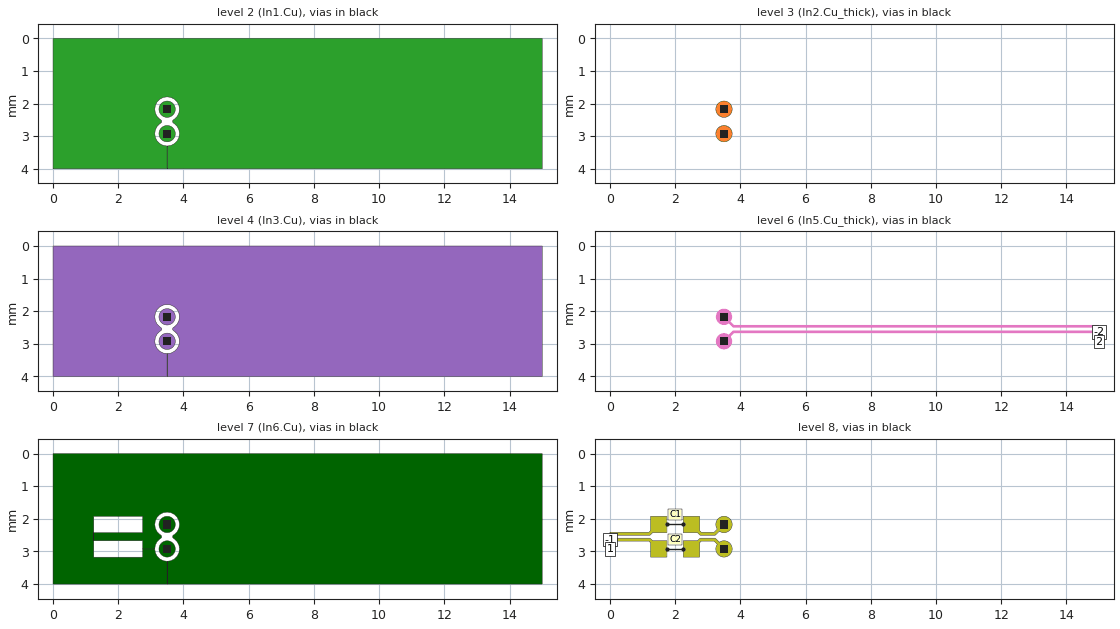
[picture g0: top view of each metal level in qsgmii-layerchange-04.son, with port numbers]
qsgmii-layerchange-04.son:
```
FTYP SONPROJ 19 ! Sonnet Project File
VER 18.56
HEADER
LIC antikernel2.1.52448
DAT 06/25/2023 11:55:03
BUILT_BY_CREATED dxf 18.56 06/07/2023 00:06:12
BUILT_BY_SAVED sonnet 18.56
MDATE 06/25/2023 11:55:03
HDATE 06/25/2023 11:55:03
ANN Created by dxfgeo, Sonnet Software Inc.
END HEADER
DIM
ANG DEG
CAP PF
CON /OH
FREQ GHZ
IND NH
LNG MM
RES OH
END DIM
CONTROL
VARSWP
OPTIONS  -dj
SPEED 1
CACHE_ABS 2
Q_ACC N
END CONTROL
GEO
TMET "Free Space" 0 FREESPACE 376.7303136 0 0 0
BMET "Free Space" 0 FREESPACE 376.7303136 0 0 0
MET "Copper_1oz_thin" 1 NOR 58000000 0.5 0.035 
MET "Copper_1oz_thick" 2 TMM 58000000 0.5 0.035 2
MET "Copper_0.5oz_thin" 4 NOR 58000000 0.5 0.017 
MET "Copper_0.5oz_thick" 12 TMM 58000000 0.5 0.017 2
MET "Copper_0.5oz_thick_down" 5 TMM 58000000 0.5 0.017 2 CDVY TDWN
MET "Copper_1oz_thick_down" 3 TMM 58000000 0.5 0.035 2 CDVY TDWN
BOX 10 15 4 2400 640 20 0
      5 1 1 0 0 0 0 "Air"
      0.04 3.5 1 0.025 0 0 0 "Soldermask"
      0.075 3.9 1 0.008 0 0 0 "TU-872_SLK"
      0.1 3.9 1 0.008 0 0 0 "TU-872_SLK"
      0.143 3.9 1 0.008 0 0 0 "TU-872_SLK"
      0.7 4.49 1 0.016 0 0 0 "Shengyi_S1000-2M"
      0.143 3.9 1 0.008 0 0 0 "TU-872_SLK"
      0.1 3.9 1 0.008 0 0 0 "TU-872_SLK"
      0.075 3.9 1 0.008 0 0 0 "TU-872_SLK"
      0.04 3.5 1 0.025 0 0 0 "Soldermask"
      5 1 1 0 0 0 0 "Air"
TECHLAY VIA Via1 L9D0 -13 -65534 CAD Via1 drawing 
VIA POLYGON
1 0 -1 N 2994 1 1 100 100 0 0 0 Y
TOLEVEL 8 RING NOCOVERS
END
END
TECHLAY METAL F.Cu_thick L1D0 -2 -65534 CAD F.Cu_thick drawing 
1 0 1 N 2708 1 1 100 100 0 0 0 Y
END
END
TECHLAY METAL F.Cu_thin <UNSPECIFIED> -1 -65534 CAD F.Cu_thin drawing 
1 0 0 N 2710 1 1 100 100 0 0 0 Y
END
END
TECHLAY METAL In1.Cu L2D0 -3 -65534 CAD In1.Cu drawing 
2 0 0 N 2713 1 1 100 100 0 0 0 Y
END
END
TECHLAY METAL In2.Cu_thick L3D0 -5 -65534 CAD In2.Cu_thick drawing 
3 0 3 N 2716 1 1 100 100 0 0 0 Y
END
END
TECHLAY METAL In2.Cu_thin <UNSPECIFIED> -4 -65534 CAD In2.Cu drawing 
3 0 2 N 2718 1 1 100 100 0 0 0 Y
END
END
TECHLAY METAL In3.Cu L4D0 -6 -65534 CAD In3.Cu drawing 
4 0 0 N 2721 1 1 100 100 0 0 0 Y
END
END
TECHLAY METAL In4.Cu L5D0 -7 -65534 CAD In4.Cu drawing 
5 0 0 N 2724 1 1 100 100 0 0 0 Y
END
END
TECHLAY METAL In5.Cu_thick L6D0 -9 -65534 CAD In5.Cu_thick drawing 
6 0 4 N 2727 1 1 100 100 0 0 0 Y
END
END
TECHLAY METAL In5.Cu_thin <UNSPECIFIED> -8 -65534 CAD In5.Cu drawing 
6 0 2 N 2729 1 1 100 100 0 0 0 Y
END
END
TECHLAY METAL In6.Cu L7D0 -10 -65534 CAD In6.Cu drawing 
7 0 0 N 2732 1 1 100 100 0 0 0 Y
END
END
TECHLAY METAL B.Cu_thick L8D0 -12 -65534 CAD B.Cu_thick drawing 
8 0 5 N 2735 1 1 100 100 0 0 0 Y
END
END
TECHLAY METAL B.Cu_thin <UNSPECIFIED> -11 -65534 CAD B.Cu_thin drawing 
8 0 0 N 2737 1 1 100 100 0 0 0 Y
END
END
LORGN 0 4 U 
POR1 BOX
POLY 2889 1
23
-2 100 0 0 0 15 2.631914063 
POR1 BOX
POLY 2890 1
69
2 100 0 0 0 15 2.461914063 
POR1 BOX
POLY 2853 1
10
-1 100 0 0 0 -2.220446049e-16 2.636914063 
POR1 BOX
POLY 2860 1
13
1 100 0 0 0 -2.220446049e-16 2.456914062 
SMD 8 "C1"
ID 2913
GNDREF AUTO
SBOX 1.8735625 2.1235625 2.134414063 2.209414063
PBSHW N
LPOS 1.9985625 2.134414063
TYPE IDEAL CAP 100000
SMDP 8 1.7485625 2.171914063 L 3 1 
EXSMDP
GNDREF AUTO
TERMW FEED
END EXSMDP
SMDP 8 2.2485625 2.171914063 R 4 2 
EXSMDP
GNDREF AUTO
TERMW FEED
END EXSMDP
END
SMD 8 "C2"
ID 2918
GNDREF AUTO
SBOX 1.8735625 2.1235625 2.884414063 2.959414063
PBSHW N
LPOS 1.9985625 2.884414063
TYPE IDEAL CAP 100000
SMDP 8 1.7485625 2.921914063 L 5 1 
EXSMDP
GNDREF AUTO
TERMW FEED
END EXSMDP
SMDP 8 2.2485625 2.921914063 R 6 2 
EXSMDP
GNDREF AUTO
TERMW FEED
END EXSMDP
END
NUM 19
VIA POLYGON
1 5 -1 N 2429 1 1 100 100 0 0 0 Y
TOLEVEL 8 RING NOCOVERS
TLAYNAM Via1 INH
3.3735625 3.046914063
3.3735625 2.796914063
3.6235625 2.796914063
3.6235625 3.046914063
3.3735625 3.046914063
END
VIA POLYGON
1 5 -1 N 2431 1 1 100 100 0 0 0 Y
TOLEVEL 8 RING NOCOVERS
TLAYNAM Via1 INH
3.3735625 2.296914063
3.3735625 2.046914063
3.6235625 2.046914063
3.6235625 2.296914063
3.3735625 2.296914063
END
2 65 0 N 556 1 1 100 100 0 0 0 Y
TLAYNAM In1.Cu INH
3.4865625 3.171914063
3.4615625 3.168914063
3.4375625 3.164914062
3.4145625 3.156914063
3.3915625 3.147914063
3.3695625 3.135914062
3.3495625 3.122914063
3.3305625 3.106914063
3.3135625 3.089914063
3.2975625 3.070914063
3.2845625 3.050914063
3.2725625 3.028914063
3.2635625 3.005914063
3.2555625 2.982914063
3.2515625 2.958914063
3.2485625 2.933914063
3.2485625 2.909914063
3.2515625 2.884914063
3.2555625 2.860914063
3.2635625 2.837914062
3.2725625 2.814914063
3.2845625 2.792914062
3.2975625 2.772914063
3.3135625 2.753914063
3.3305625 2.736914062
3.3495625 2.720914063
3.3695625 2.707914063
3.3915625 2.695914063
3.4145625 2.686914063
3.4375625 2.678914063
3.4615625 2.674914063
3.4865625 2.671914063
3.5105625 2.671914063
3.5355625 2.674914063
3.5595625 2.678914063
3.5825625 2.686914063
3.6055625 2.695914063
3.6275625 2.707914063
3.6475625 2.720914063
3.6665625 2.736914062
3.6835625 2.753914063
3.6995625 2.772914063
3.7125625 2.792914062
3.7245625 2.814914063
3.7335625 2.837914062
3.7415625 2.860914063
3.7455625 2.884914063
3.7485625 2.909914063
3.7485625 2.933914063
3.7455625 2.958914063
3.7415625 2.982914063
3.7335625 3.005914063
3.7245625 3.028914063
3.7125625 3.050914063
3.6995625 3.070914063
3.6835625 3.089914063
3.6665625 3.106914063
3.6475625 3.122914063
3.6275625 3.135914062
3.6055625 3.147914063
3.5825625 3.156914063
3.5595625 3.164914062
3.5355625 3.168914063
3.5105625 3.171914063
3.4865625 3.171914063
END
2 65 0 N 558 1 1 100 100 0 0 0 Y
TLAYNAM In1.Cu INH
3.4865625 2.421914063
3.4615625 2.418914063
3.4375625 2.414914062
3.4145625 2.406914063
3.3915625 2.397914062
3.3695625 2.385914062
3.3495625 2.372914063
3.3305625 2.356914063
3.3135625 2.339914063
3.2975625 2.320914063
3.2845625 2.300914063
3.2725625 2.278914063
3.2635625 2.255914063
3.2555625 2.232914063
3.2515625 2.208914063
3.2485625 2.183914063
3.2485625 2.159914063
3.2515625 2.134914063
3.2555625 2.110914063
3.2635625 2.087914062
3.2725625 2.064914063
3.2845625 2.042914062
3.2975625 2.022914062
3.3135625 2.003914063
3.3305625 1.986914062
3.3495625 1.970914063
3.3695625 1.957914063
3.3915625 1.945914063
3.4145625 1.936914063
3.4375625 1.928914063
3.4615625 1.924914063
3.4865625 1.921914063
3.5105625 1.921914063
3.5355625 1.924914063
3.5595625 1.928914063
3.5825625 1.936914063
3.6055625 1.945914063
3.6275625 1.957914063
3.6475625 1.970914063
3.6665625 1.986914062
3.6835625 2.003914063
3.6995625 2.022914062
3.7125625 2.042914062
3.7245625 2.064914063
3.7335625 2.087914062
3.7415625 2.110914063
3.7455625 2.134914063
3.7485625 2.159914063
3.7485625 2.183914063
3.7455625 2.208914063
3.7415625 2.232914063
3.7335625 2.255914063
3.7245625 2.278914063
3.7125625 2.300914063
3.6995625 2.320914063
3.6835625 2.339914063
3.6665625 2.356914063
3.6475625 2.372914063
3.6275625 2.385914062
3.6055625 2.397914062
3.5825625 2.406914063
3.5595625 2.414914062
3.5355625 2.418914063
3.5105625 2.421914063
3.4865625 2.421914063
END
2 64 0 N 2906 1 1 100 100 0 0 0 Y
TLAYNAM In1.Cu INH
15 0
-2.220446049e-16 0
-2.220446049e-16 4
3.4985625 4
3.4985625 3.301914062
3.3815625 3.283914062
3.2755625 3.229914063
3.1905625 3.144914063
3.1365625 3.038914063
3.1205625 2.935914062
3.1195625 2.926914062
3.1185625 2.921914063
3.1365625 2.804914062
3.1905625 2.698914063
3.2755625 2.613914063
3.2995625 2.601914063
3.3265625 2.574914063
3.3305625 2.527914063
3.2995625 2.491914063
3.2755625 2.479914063
3.1905625 2.394914062
3.1365625 2.288914063
3.1185625 2.171914063
3.1215625 2.153914063
3.1365625 2.058914063
3.1365625 2.054914062
3.1905625 1.948914063
3.2755625 1.863914063
3.3815625 1.809914063
3.4455625 1.799914063
3.4935625 1.792914062
3.4985625 1.791914063
3.5035625 1.792914062
3.5515625 1.799914063
3.6155625 1.809914063
3.7215625 1.863914063
3.8065625 1.948914063
3.8535625 2.041914063
3.8605625 2.054914062
3.8605625 2.058914063
3.8755625 2.153914063
3.8785625 2.171914063
3.8605625 2.288914063
3.8065625 2.394914062
3.7215625 2.479914063
3.6975625 2.491914063
3.6705625 2.518914063
3.6665625 2.565914063
3.6975625 2.601914063
3.7215625 2.613914063
3.8065625 2.698914063
3.8605625 2.804914062
3.8785625 2.921914063
3.8775625 2.926914062
3.8765625 2.935914062
3.8605625 3.038914063
3.8585625 3.041914063
3.8065625 3.144914063
3.7215625 3.229914063
3.6155625 3.283914062
3.4985625 3.301914062
3.4985625 4
15 4
15 0
END
3 65 3 N 793 1 1 100 100 0 0 0 Y
TLAYNAM In2.Cu_thick INH
3.4865625 2.421914063
3.4615625 2.418914063
3.4375625 2.414914062
3.4145625 2.406914063
3.3915625 2.397914062
3.3695625 2.385914062
3.3495625 2.372914063
3.3305625 2.356914063
3.3135625 2.339914063
3.2975625 2.320914063
3.2845625 2.300914063
3.2725625 2.278914063
3.2635625 2.255914063
3.2555625 2.232914063
3.2515625 2.208914063
3.2485625 2.183914063
3.2485625 2.159914063
3.2515625 2.134914063
3.2555625 2.110914063
3.2635625 2.087914062
3.2725625 2.064914063
3.2845625 2.042914062
3.2975625 2.022914062
3.3135625 2.003914063
3.3305625 1.986914062
3.3495625 1.970914063
3.3695625 1.957914063
3.3915625 1.945914063
3.4145625 1.936914063
3.4375625 1.928914063
3.4615625 1.924914063
3.4865625 1.921914063
3.5105625 1.921914063
3.5355625 1.924914063
3.5595625 1.928914063
3.5825625 1.936914063
3.6055625 1.945914063
3.6275625 1.957914063
3.6475625 1.970914063
3.6665625 1.986914062
3.6835625 2.003914063
3.6995625 2.022914062
3.7125625 2.042914062
3.7245625 2.064914063
3.7335625 2.087914062
3.7415625 2.110914063
3.7455625 2.134914063
3.7485625 2.159914063
3.7485625 2.183914063
3.7455625 2.208914063
3.7415625 2.232914063
3.7335625 2.255914063
3.7245625 2.278914063
3.7125625 2.300914063
3.6995625 2.320914063
3.6835625 2.339914063
3.6665625 2.356914063
3.6475625 2.372914063
3.6275625 2.385914062
3.6055625 2.397914062
3.5825625 2.406914063
3.5595625 2.414914062
3.5355625 2.418914063
3.5105625 2.421914063
3.4865625 2.421914063
END
3 65 3 N 792 1 1 100 100 0 0 0 Y
TLAYNAM In2.Cu_thick INH
3.4865625 3.171914063
3.4615625 3.168914063
3.4375625 3.164914062
3.4145625 3.156914063
3.3915625 3.147914063
3.3695625 3.135914062
3.3495625 3.122914063
3.3305625 3.106914063
3.3135625 3.089914063
3.2975625 3.070914063
3.2845625 3.050914063
3.2725625 3.028914063
3.2635625 3.005914063
3.2555625 2.982914063
3.2515625 2.958914063
3.2485625 2.933914063
3.2485625 2.909914063
3.2515625 2.884914063
3.2555625 2.860914063
3.2635625 2.837914062
3.2725625 2.814914063
3.2845625 2.792914062
3.2975625 2.772914063
3.3135625 2.753914063
3.3305625 2.736914062
3.3495625 2.720914063
3.3695625 2.707914063
3.3915625 2.695914063
3.4145625 2.686914063
3.4375625 2.678914063
3.4615625 2.674914063
3.4865625 2.671914063
3.5105625 2.671914063
3.5355625 2.674914063
3.5595625 2.678914063
3.5825625 2.686914063
3.6055625 2.695914063
3.6275625 2.707914063
3.6475625 2.720914063
3.6665625 2.736914062
3.6835625 2.753914063
3.6995625 2.772914063
3.7125625 2.792914062
3.7245625 2.814914063
3.7335625 2.837914062
3.7415625 2.860914063
3.7455625 2.884914063
3.7485625 2.909914063
3.7485625 2.933914063
3.7455625 2.958914063
3.7415625 2.982914063
3.7335625 3.005914063
3.7245625 3.028914063
3.7125625 3.050914063
3.6995625 3.070914063
3.6835625 3.089914063
3.6665625 3.106914063
3.6475625 3.122914063
3.6275625 3.135914062
3.6055625 3.147914063
3.5825625 3.156914063
3.5595625 3.164914062
3.5355625 3.168914063
3.5105625 3.171914063
3.4865625 3.171914063
END
4 65 0 N 1084 1 1 100 100 0 0 0 Y
TLAYNAM In3.Cu INH
3.4865625 2.421914063
3.4615625 2.418914063
3.4375625 2.414914062
3.4145625 2.406914063
3.3915625 2.397914062
3.3695625 2.385914062
3.3495625 2.372914063
3.3305625 2.356914063
3.3135625 2.339914063
3.2975625 2.320914063
3.2845625 2.300914063
3.2725625 2.278914063
3.2635625 2.255914063
3.2555625 2.232914063
3.2515625 2.208914063
3.2485625 2.183914063
3.2485625 2.159914063
3.2515625 2.134914063
3.2555625 2.110914063
3.2635625 2.087914062
3.2725625 2.064914063
3.2845625 2.042914062
3.2975625 2.022914062
3.3135625 2.003914063
3.3305625 1.986914062
3.3495625 1.970914063
3.3695625 1.957914063
3.3915625 1.945914063
3.4145625 1.936914063
3.4375625 1.928914063
3.4615625 1.924914063
3.4865625 1.921914063
3.5105625 1.921914063
3.5355625 1.924914063
3.5595625 1.928914063
3.5825625 1.936914063
3.6055625 1.945914063
3.6275625 1.957914063
3.6475625 1.970914063
3.6665625 1.986914062
3.6835625 2.003914063
3.6995625 2.022914062
3.7125625 2.042914062
3.7245625 2.064914063
3.7335625 2.087914062
3.7415625 2.110914063
3.7455625 2.134914063
3.7485625 2.159914063
3.7485625 2.183914063
3.7455625 2.208914063
3.7415625 2.232914063
3.7335625 2.255914063
3.7245625 2.278914063
3.7125625 2.300914063
3.6995625 2.320914063
3.6835625 2.339914063
3.6665625 2.356914063
3.6475625 2.372914063
3.6275625 2.385914062
3.6055625 2.397914062
3.5825625 2.406914063
3.5595625 2.414914062
3.5355625 2.418914063
3.5105625 2.421914063
3.4865625 2.421914063
END
4 65 0 N 1097 1 1 100 100 0 0 0 Y
TLAYNAM In3.Cu INH
3.4865625 3.171914063
3.4615625 3.168914063
3.4375625 3.164914062
3.4145625 3.156914063
3.3915625 3.147914063
3.3695625 3.135914062
3.3495625 3.122914063
3.3305625 3.106914063
3.3135625 3.089914063
3.2975625 3.070914063
3.2845625 3.050914063
3.2725625 3.028914063
3.2635625 3.005914063
3.2555625 2.982914063
3.2515625 2.958914063
3.2485625 2.933914063
3.2485625 2.909914063
3.2515625 2.884914063
3.2555625 2.860914063
3.2635625 2.837914062
3.2725625 2.814914063
3.2845625 2.792914062
3.2975625 2.772914063
3.3135625 2.753914063
3.3305625 2.736914062
3.3495625 2.720914063
3.3695625 2.707914063
3.3915625 2.695914063
3.4145625 2.686914063
3.4375625 2.678914063
3.4615625 2.674914063
3.4865625 2.671914063
3.5105625 2.671914063
3.5355625 2.674914063
3.5595625 2.678914063
3.5825625 2.686914063
3.6055625 2.695914063
3.6275625 2.707914063
3.6475625 2.720914063
3.6665625 2.736914062
3.6835625 2.753914063
3.6995625 2.772914063
3.7125625 2.792914062
3.7245625 2.814914063
3.7335625 2.837914062
3.7415625 2.860914063
3.7455625 2.884914063
3.7485625 2.909914063
3.7485625 2.933914063
3.7455625 2.958914063
3.7415625 2.982914063
3.7335625 3.005914063
3.7245625 3.028914063
3.7125625 3.050914063
3.6995625 3.070914063
3.6835625 3.089914063
3.6665625 3.106914063
3.6475625 3.122914063
3.6275625 3.135914062
3.6055625 3.147914063
3.5825625 3.156914063
3.5595625 3.164914062
3.5355625 3.168914063
3.5105625 3.171914063
3.4865625 3.171914063
END
4 70 0 N 2928 1 1 100 100 0 0 0 Y
TLAYNAM In3.Cu INH
15 0.81
15 0
-2.220446049e-16 0
-2.220446049e-16 0.671914063
-2.220446049e-16 3.458914063
6.661338148e-16 3.458914063
6.661338148e-16 4
3.4985625 4
3.4985625 3.301914062
3.3815625 3.283914062
3.2755625 3.229914063
3.1905625 3.144914063
3.1365625 3.038914063
3.1205625 2.935914062
3.1195625 2.926914062
3.1185625 2.921914063
3.1365625 2.804914062
3.1905625 2.698914063
3.2755625 2.613914063
3.2995625 2.601914063
3.3265625 2.574914063
3.3305625 2.527914063
3.2995625 2.491914063
3.2755625 2.479914063
3.1905625 2.394914062
3.1365625 2.288914063
3.1205625 2.182914062
3.1195625 2.176914062
3.1185625 2.171914063
3.1215625 2.153914063
3.1295625 2.099914062
3.1365625 2.054914062
3.1905625 1.948914063
3.2755625 1.863914063
3.3815625 1.809914063
3.4575625 1.797914063
3.4935625 1.792914062
3.4985625 1.791914063
3.5035625 1.792914062
3.5395625 1.797914063
3.6155625 1.809914063
3.7215625 1.863914063
3.8065625 1.948914063
3.8605625 2.054914062
3.8675625 2.099914062
3.8755625 2.153914063
3.8785625 2.171914063
3.8775625 2.176914062
3.8765625 2.182914062
3.8605625 2.288914063
3.8065625 2.394914062
3.7215625 2.479914063
3.6975625 2.491914063
3.6705625 2.518914063
3.6665625 2.565914063
3.6975625 2.601914063
3.7215625 2.613914063
3.8065625 2.698914063
3.8605625 2.804914062
3.8785625 2.921914063
3.8775625 2.926914062
3.8765625 2.935914062
3.8605625 3.038914063
3.8065625 3.144914063
3.7215625 3.229914063
3.6155625 3.283914062
3.4985625 3.301914062
3.4985625 4
15 4
15 0.81
END
6 71 4 N 2889 1 1 100 100 0 0 0 Y
TLAYNAM In5.Cu_thick INH
3.5355625 3.168914063
3.5595625 3.164914062
3.5825625 3.156914063
3.6055625 3.147914063
3.6275625 3.135914062
3.6475625 3.122914063
3.6665625 3.106914063
3.6835625 3.089914063
3.6995625 3.070914063
3.7125625 3.050914063
3.7245625 3.028914063
3.7335625 3.005914063
3.7415625 2.982914063
3.7455625 2.958914063
3.7485625 2.933914063
3.7485625 2.909914063
3.7455625 2.884914063
3.7415625 2.860914063
3.7335625 2.837914062
3.7245625 2.814914063
3.7125625 2.792914062
3.7015625 2.775914063
3.8045625 2.672914063
15 2.672914063
15 2.590914062
3.7865625 2.590914062
3.7745625 2.593914062
3.7715625 2.594914063
3.7675625 2.596914062
3.7645625 2.598914063
3.6445625 2.718914062
3.6275625 2.707914063
3.6055625 2.695914063
3.5825625 2.686914063
3.5595625 2.678914063
3.5355625 2.674914063
3.5105625 2.671914063
3.4865625 2.671914063
3.4615625 2.674914063
3.4375625 2.678914063
3.4145625 2.686914063
3.3915625 2.695914063
3.3695625 2.707914063
3.3495625 2.720914063
3.3305625 2.736914062
3.3135625 2.753914063
3.2975625 2.772914063
3.2845625 2.792914062
3.2725625 2.814914063
3.2635625 2.837914062
3.2555625 2.860914063
3.2515625 2.884914063
3.2485625 2.909914063
3.2485625 2.933914063
3.2515625 2.958914063
3.2555625 2.982914063
3.2635625 3.005914063
3.2725625 3.028914063
3.2845625 3.050914063
3.2975625 3.070914063
3.3135625 3.089914063
3.3305625 3.106914063
3.3495625 3.122914063
3.3695625 3.135914062
3.3915625 3.147914063
3.4145625 3.156914063
3.4375625 3.164914062
3.4615625 3.168914063
3.4865625 3.171914063
3.5105625 3.171914063
3.5355625 3.168914063
END
6 71 4 N 2890 1 1 100 100 0 0 0 Y
TLAYNAM In5.Cu_thick INH
15 2.420914062
3.8045625 2.420914062
3.7015625 2.317914063
3.7125625 2.300914063
3.7245625 2.278914063
3.7335625 2.255914063
3.7415625 2.232914063
3.7455625 2.208914063
3.7485625 2.183914063
3.7485625 2.159914063
3.7455625 2.134914063
3.7415625 2.110914063
3.7335625 2.087914062
3.7245625 2.064914063
3.7125625 2.042914062
3.6995625 2.022914062
3.6835625 2.003914063
3.6665625 1.986914062
3.6475625 1.970914063
3.6275625 1.957914063
3.6055625 1.945914063
3.5825625 1.936914063
3.5595625 1.928914063
3.5355625 1.924914063
3.5105625 1.921914063
3.4865625 1.921914063
3.4615625 1.924914063
3.4375625 1.928914063
3.4145625 1.936914063
3.3915625 1.945914063
3.3695625 1.957914063
3.3495625 1.970914063
3.3305625 1.986914062
3.3135625 2.003914063
3.2975625 2.022914062
3.2845625 2.042914062
3.2725625 2.064914063
3.2635625 2.087914062
3.2555625 2.110914063
3.2515625 2.134914063
3.2485625 2.159914063
3.2485625 2.183914063
3.2515625 2.208914063
3.2555625 2.232914063
3.2635625 2.255914063
3.2725625 2.278914063
3.2845625 2.300914063
3.2975625 2.320914063
3.3135625 2.339914063
3.3305625 2.356914063
3.3495625 2.372914063
3.3695625 2.385914062
3.3915625 2.397914062
3.4145625 2.406914063
3.4375625 2.414914062
3.4615625 2.418914063
3.4865625 2.421914063
3.5105625 2.421914063
3.5355625 2.418914063
3.5595625 2.414914062
3.5825625 2.406914063
3.6055625 2.397914062
3.6275625 2.385914062
3.6445625 2.374914063
3.7645625 2.494914063
3.7675625 2.496914063
3.7715625 2.498914062
3.7745625 2.499914063
3.7865625 2.502914063
15 2.502914063
15 2.420914062
END
7 65 0 N 1906 1 1 100 100 0 0 0 Y
TLAYNAM In6.Cu INH
3.4865625 2.421914063
3.4615625 2.418914063
3.4375625 2.414914062
3.4145625 2.406914063
3.3915625 2.397914062
3.3695625 2.385914062
3.3495625 2.372914063
3.3305625 2.356914063
3.3135625 2.339914063
3.2975625 2.320914063
3.2845625 2.300914063
3.2725625 2.278914063
3.2635625 2.255914063
3.2555625 2.232914063
3.2515625 2.208914063
3.2485625 2.183914063
3.2485625 2.159914063
3.2515625 2.134914063
3.2555625 2.110914063
3.2635625 2.087914062
3.2725625 2.064914063
3.2845625 2.042914062
3.2975625 2.022914062
3.3135625 2.003914063
3.3305625 1.986914062
3.3495625 1.970914063
3.3695625 1.957914063
3.3915625 1.945914063
3.4145625 1.936914063
3.4375625 1.928914063
3.4615625 1.924914063
3.4865625 1.921914063
3.5105625 1.921914063
3.5355625 1.924914063
3.5595625 1.928914063
3.5825625 1.936914063
3.6055625 1.945914063
3.6275625 1.957914063
3.6475625 1.970914063
3.6665625 1.986914062
3.6835625 2.003914063
3.6995625 2.022914062
3.7125625 2.042914062
3.7245625 2.064914063
3.7335625 2.087914062
3.7415625 2.110914063
3.7455625 2.134914063
3.7485625 2.159914063
3.7485625 2.183914063
3.7455625 2.208914063
3.7415625 2.232914063
3.7335625 2.255914063
3.7245625 2.278914063
3.7125625 2.300914063
3.6995625 2.320914063
3.6835625 2.339914063
3.6665625 2.356914063
3.6475625 2.372914063
3.6275625 2.385914062
3.6055625 2.397914062
3.5825625 2.406914063
3.5595625 2.414914062
3.5355625 2.418914063
3.5105625 2.421914063
3.4865625 2.421914063
END
7 65 0 N 1904 1 1 100 100 0 0 0 Y
TLAYNAM In6.Cu INH
3.4865625 3.171914063
3.4615625 3.168914063
3.4375625 3.164914062
3.4145625 3.156914063
3.3915625 3.147914063
3.3695625 3.135914062
3.3495625 3.122914063
3.3305625 3.106914063
3.3135625 3.089914063
3.2975625 3.070914063
3.2845625 3.050914063
3.2725625 3.028914063
3.2635625 3.005914063
3.2555625 2.982914063
3.2515625 2.958914063
3.2485625 2.933914063
3.2485625 2.909914063
3.2515625 2.884914063
3.2555625 2.860914063
3.2635625 2.837914062
3.2725625 2.814914063
3.2845625 2.792914062
3.2975625 2.772914063
3.3135625 2.753914063
3.3305625 2.736914062
3.3495625 2.720914063
3.3695625 2.707914063
3.3915625 2.695914063
3.4145625 2.686914063
3.4375625 2.678914063
3.4615625 2.674914063
3.4865625 2.671914063
3.5105625 2.671914063
3.5355625 2.674914063
3.5595625 2.678914063
3.5825625 2.686914063
3.6055625 2.695914063
3.6275625 2.707914063
3.6475625 2.720914063
3.6665625 2.736914062
3.6835625 2.753914063
3.6995625 2.772914063
3.7125625 2.792914062
3.7245625 2.814914063
3.7335625 2.837914062
3.7415625 2.860914063
3.7455625 2.884914063
3.7485625 2.909914063
3.7485625 2.933914063
3.7455625 2.958914063
3.7415625 2.982914063
3.7335625 3.005914063
3.7245625 3.028914063
3.7125625 3.050914063
3.6995625 3.070914063
3.6835625 3.089914063
3.6665625 3.106914063
3.6475625 3.122914063
3.6275625 3.135914062
3.6055625 3.147914063
3.5825625 3.156914063
3.5595625 3.164914062
3.5355625 3.168914063
3.5105625 3.171914063
3.4865625 3.171914063
END
7 82 0 N 3010 1 1 100 100 0 0 0 Y
TLAYNAM In6.Cu INH
15 0
-2.220446049e-16 0
-2.220446049e-16 1.421914063
-2.220446049e-16 3.38
6.661338148e-16 3.38
6.661338148e-16 4
3.4985625 4
3.4985625 3.301914062
3.3815625 3.283914062
3.2755625 3.229914063
3.1905625 3.144914063
3.1365625 3.038914063
3.1205625 2.935914062
3.1195625 2.926914062
3.1185625 2.921914063
2.75 2.921914063
2.75 3.175
1.2485625 3.175
1.2485625 2.671914063
1.2485625 2.425
1.2485625 2.425
1.2485625 1.921914063
2.75 1.921914063
2.75 2.425
1.2485625 2.425
1.2485625 2.671914063
2.75 2.671914063
2.75 2.921914063
3.1185625 2.921914063
3.1185625 2.921914063
3.1365625 2.804914062
3.1905625 2.698914063
3.2755625 2.613914063
3.2995625 2.601914063
3.3265625 2.574914063
3.3305625 2.527914063
3.2995625 2.491914063
3.2755625 2.479914063
3.1905625 2.394914062
3.1365625 2.288914063
3.1185625 2.171914063
3.1215625 2.153914063
3.1365625 2.058914063
3.1365625 2.054914062
3.1905625 1.948914063
3.2755625 1.863914063
3.3815625 1.809914063
3.4455625 1.799914063
3.4935625 1.792914062
3.4985625 1.791914063
3.5035625 1.792914062
3.5515625 1.799914063
3.6155625 1.809914063
3.7215625 1.863914063
3.8065625 1.948914063
3.8535625 2.041914063
3.8605625 2.054914062
3.8605625 2.058914063
3.8755625 2.153914063
3.8785625 2.171914063
3.8605625 2.288914063
3.8065625 2.394914062
3.7215625 2.479914063
3.6975625 2.491914063
3.6705625 2.518914063
3.6665625 2.565914063
3.6975625 2.601914063
3.7215625 2.613914063
3.8065625 2.698914063
3.8605625 2.804914062
3.8785625 2.921914063
3.8775625 2.926914062
3.8765625 2.935914062
3.8605625 3.038914063
3.8585625 3.041914063
3.8065625 3.144914063
3.7215625 3.229914063
3.6155625 3.283914062
3.4985625 3.301914062
3.4985625 4
15 4
15 0
END
8 84 5 N 2119 1 1 100 100 0 0 0 Y
2.2485625 3.171914063
2.2485625 2.671914063
2.6855625 2.671914063
2.7565625 2.600914063
2.7605625 2.597914063
2.7645625 2.595914063
2.7685625 2.594914063
2.7725625 2.592914063
2.7765625 2.591914063
3.2205625 2.591914063
3.2245625 2.592914063
3.2285625 2.594914063
3.2325625 2.595914063
3.2365625 2.597914063
3.2405625 2.600914063
3.2495625 2.609914063
3.2525625 2.613914063
3.3565625 2.716914063
3.3695625 2.707914063
3.3915625 2.695914063
3.4145625 2.686914063
3.4375625 2.678914063
3.4615625 2.674914063
3.4865625 2.671914063
3.5105625 2.671914063
3.5355625 2.674914063
3.5595625 2.678914063
3.5825625 2.686914063
3.6055625 2.695914063
3.6275625 2.707914063
3.6475625 2.720914063
3.6665625 2.736914062
3.6835625 2.753914063
3.6995625 2.772914063
3.7125625 2.792914062
3.7245625 2.814914063
3.7335625 2.837914062
3.7415625 2.860914063
3.7455625 2.884914063
3.7485625 2.909914063
3.7485625 2.933914063
3.7455625 2.958914063
3.7415625 2.982914063
3.7335625 3.005914063
3.7245625 3.028914063
3.7125625 3.050914063
3.6995625 3.070914063
3.6835625 3.089914063
3.6665625 3.106914063
3.6475625 3.122914063
3.6275625 3.135914062
3.6055625 3.147914063
3.5825625 3.156914063
3.5595625 3.164914062
3.5355625 3.168914063
3.5105625 3.171914063
3.4865625 3.171914063
3.4615625 3.168914063
3.4375625 3.164914062
3.4145625 3.156914063
3.3915625 3.147914063
3.3695625 3.135914062
3.3495625 3.122914063
3.3305625 3.106914063
3.3135625 3.089914063
3.2975625 3.070914063
3.2845625 3.050914063
3.2725625 3.028914063
3.2635625 3.005914063
3.2555625 2.982914063
3.2515625 2.958914063
3.2485625 2.933914063
3.2485625 2.909914063
3.2515625 2.884914063
3.2555625 2.860914063
3.2635625 2.837914062
3.2725625 2.814914063
3.2845625 2.792914062
3.2935625 2.779914063
3.1955625 2.681914063
2.8015625 2.681914063
2.7485625 2.734914063
2.7485625 3.171914063
2.2485625 3.171914063
END
8 82 5 N 2122 1 1 100 100 0 0 0 Y
2.7765625 2.501914062
2.7725625 2.500914063
2.7685625 2.498914062
2.7645625 2.497914063
2.7605625 2.495914062
2.7565625 2.492914062
2.6855625 2.421914063
2.2485625 2.421914063
2.2485625 1.921914063
2.7485625 1.921914063
2.7485625 2.358914062
2.8015625 2.411914062
3.1955625 2.411914062
3.2935625 2.313914062
3.2845625 2.300914063
3.2725625 2.278914063
3.2635625 2.255914063
3.2555625 2.232914063
3.2515625 2.208914063
3.2485625 2.183914063
3.2485625 2.159914063
3.2515625 2.134914063
3.2555625 2.110914063
3.2635625 2.087914062
3.2725625 2.064914063
3.2845625 2.042914062
3.2975625 2.022914062
3.3135625 2.003914063
3.3305625 1.986914062
3.3495625 1.970914063
3.3695625 1.957914063
3.3915625 1.945914063
3.4145625 1.936914063
3.4375625 1.928914063
3.4615625 1.924914063
3.4865625 1.921914063
3.5105625 1.921914063
3.5355625 1.924914063
3.5595625 1.928914063
3.5825625 1.936914063
3.6055625 1.945914063
3.6275625 1.957914063
3.6475625 1.970914063
3.6665625 1.986914062
3.6835625 2.003914063
3.6995625 2.022914062
3.7125625 2.042914062
3.7245625 2.064914063
3.7335625 2.087914062
3.7415625 2.110914063
3.7455625 2.134914063
3.7485625 2.159914063
3.7485625 2.183914063
3.7455625 2.208914063
3.7415625 2.232914063
3.7335625 2.255914063
3.7245625 2.278914063
3.7125625 2.300914063
3.6995625 2.320914063
3.6835625 2.339914063
3.6665625 2.356914063
3.6475625 2.372914063
3.6275625 2.385914062
3.6055625 2.397914062
3.5825625 2.406914063
3.5595625 2.414914062
3.5355625 2.418914063
3.5105625 2.421914063
3.4865625 2.421914063
3.4615625 2.418914063
3.4375625 2.414914062
3.4145625 2.406914063
3.3915625 2.397914062
3.3695625 2.385914062
3.3565625 2.376914062
3.2405625 2.492914062
3.2365625 2.495914062
3.2325625 2.497914063
3.2285625 2.498914062
3.2245625 2.500914063
3.2205625 2.501914062
2.7765625 2.501914062
END
8 17 5 N 2853 1 1 100 100 0 0 0 Y
1.7485625 2.671914063
1.3115625 2.671914063
1.2525625 2.613914063
1.2495625 2.609914063
1.2405625 2.600914063
1.2365625 2.597914063
1.2325625 2.595914063
1.2285625 2.594914063
1.2245625 2.592914063
1.2205625 2.591914063
-2.220446049e-16 2.591914063
-2.220446049e-16 2.681914063
1.1955625 2.681914063
1.2485625 2.734914063
1.2485625 3.171914063
1.7485625 3.171914063
1.7485625 2.671914063
END
8 17 5 N 2860 1 1 100 100 0 0 0 Y
1.2245625 2.500914063
1.2285625 2.498914062
1.2335625 2.497914063
1.2365625 2.495914062
1.2445625 2.489914062
1.2475625 2.486914062
1.2495625 2.483914062
1.3115625 2.421914063
1.7485625 2.421914063
1.7485625 1.921914063
1.2485625 1.921914063
1.2485625 2.358914062
1.1955625 2.411914062
-2.220446049e-16 2.411914062
-2.220446049e-16 2.501914062
1.2205625 2.501914062
1.2245625 2.500914063
END
END GEO
OPT
MAX 100
END OPT
VARSWP
ENABLED Y
FREQ Y AY ABS_ENTRY 0.01 20.0 -1 300 
END
END VARSWP
```
